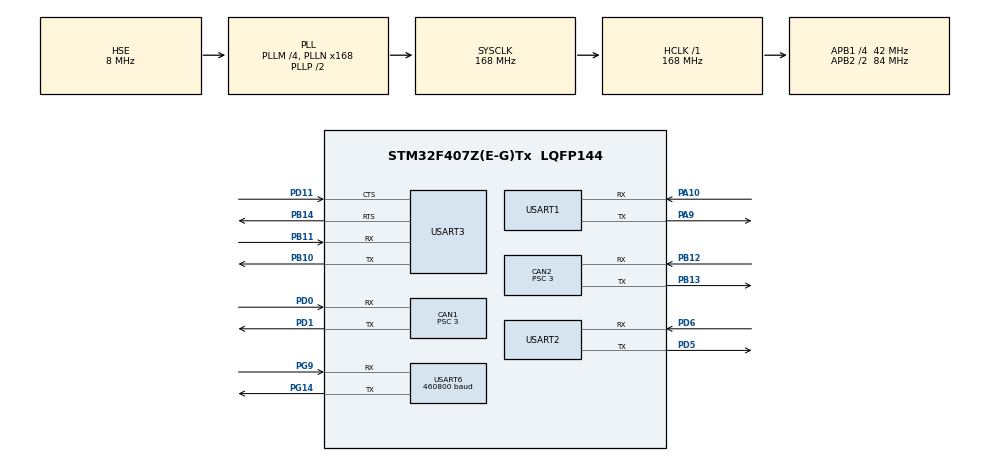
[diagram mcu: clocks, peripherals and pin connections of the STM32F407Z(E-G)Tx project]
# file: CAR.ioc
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CAN1.BS1=CAN_BS1_9TQ
CAN1.BS2=CAN_BS2_4TQ
CAN1.CalculateBaudRate=1000000
CAN1.CalculateTimeBit=1000
CAN1.CalculateTimeQuantum=71.42857142857143
CAN1.Prescaler=3
CAN2.BS1=CAN_BS1_9TQ
CAN2.BS2=CAN_BS2_4TQ
CAN2.CalculateBaudRate=1000000
CAN2.CalculateTimeBit=1000
CAN2.CalculateTimeQuantum=71.42857142857143
CAN2.Prescaler=3
Dma.Request0=USART1_RX
Dma.USART1_RX.0.Direction=DMA_PERIPH_TO_MEMORY
Dma.USART1_RX.0.FIFOMode=DMA_FIFOMODE_DISABLE
Dma.USART1_RX.0.Instance=DMA2_Stream2
Dma.USART1_RX.0.MemDataAlignment=DMA_MDATAALIGN_BYTE
Dma.USART1_RX.0.MemInc=DMA_MINC_ENABLE
Dma.USART1_RX.0.Mode=DMA_NORMAL
Dma.USART1_RX.0.PeriphDataAlignment=DMA_PDATAALIGN_BYTE
Dma.USART1_RX.0.PeriphInc=DMA_PINC_DISABLE
Dma.USART1_RX.0.Priority=DMA_PRIORITY_MEDIUM
FREERTOS.Queues01=myQueue01,16,uint16_t,0,Dynamic,NULL,NULL
FREERTOS.Tasks01=defaultTask,24,128,StartDefaultTask,Default,NULL,Dynamic,NULL,NULL;btn_detect_Task,29,128,Task02,Default,NULL,Dynamic,NULL,NULL;point_track_Tas,8,128,Task03,Default,NULL,Dynamic,NULL,NULL
Mcu.Family=STM32F4
Mcu.Name=STM32F407Z(E-G)Tx
Mcu.Package=LQFP144
NVIC.CAN1_RX0_IRQn=true\:5\:0\:false\:false\:true\:true\:true\:true\:true
NVIC.CAN1_RX1_IRQn=true\:5\:0\:false\:false\:true\:true\:true\:true\:true
NVIC.CAN2_RX0_IRQn=true\:5\:0\:false\:false\:true\:true\:true\:true\:true
NVIC.CAN2_RX1_IRQn=true\:5\:0\:false\:false\:true\:true\:true\:true\:true
NVIC.DMA2_Stream2_IRQn=true\:5\:0\:false\:false\:true\:true\:false\:true\:true
NVIC.PriorityGroup=NVIC_PRIORITYGROUP_4
NVIC.TIM6_DAC_IRQn=true\:15\:0\:false\:false\:true\:false\:false\:true\:true
NVIC.TimeBase=TIM6_DAC_IRQn
NVIC.TimeBaseIP=TIM6
NVIC.USART1_IRQn=true\:5\:0\:false\:false\:true\:true\:true\:true\:true
NVIC.USART2_IRQn=true\:5\:0\:false\:false\:true\:true\:true\:true\:true
NVIC.USART3_IRQn=true\:5\:0\:false\:false\:true\:true\:true\:true\:true
NVIC.USART6_IRQn=true\:5\:0\:false\:false\:true\:true\:true\:true\:true
PA10.Mode=Asynchronous
PA10.Signal=USART1_RX
PA13.Mode=Serial_Wire
PA13.Signal=SYS_JTMS-SWDIO
PA14.Mode=Serial_Wire
PA14.Signal=SYS_JTCK-SWCLK
PA9.Mode=Asynchronous
PA9.Signal=USART1_TX
PB10.Mode=Asynchronous
PB10.Signal=USART3_TX
PB11.Mode=Asynchronous
PB11.Signal=USART3_RX
PB12.Mode=CAN_Activate
PB12.Signal=CAN2_RX
PB13.Mode=CAN_Activate
PB13.Signal=CAN2_TX
PB14.Mode=CTS_RTS
PB14.Signal=USART3_RTS
PC14-OSC32_IN.Mode=LSE-External-Oscillator
PC14-OSC32_IN.Signal=RCC_OSC32_IN
PC15-OSC32_OUT.Mode=LSE-External-Oscillator
PC15-OSC32_OUT.Signal=RCC_OSC32_OUT
PD0.Mode=CAN_Activate
PD0.Signal=CAN1_RX
PD1.Mode=CAN_Activate
PD1.Signal=CAN1_TX
PD11.Mode=CTS_RTS
PD11.Signal=USART3_CTS
PD5.Mode=Asynchronous
PD5.Signal=USART2_TX
PD6.Mode=Asynchronous
PD6.Signal=USART2_RX
PG14.Mode=Asynchronous
PG14.Signal=USART6_TX
PG9.Mode=Asynchronous
PG9.Signal=USART6_RX
PH0-OSC_IN.Mode=HSE-External-Oscillator
PH0-OSC_IN.Signal=RCC_OSC_IN
PH1-OSC_OUT.Mode=HSE-External-Oscillator
PH1-OSC_OUT.Signal=RCC_OSC_OUT
ProjectManager.HeapSize=0x200
ProjectManager.StackSize=0x400
ProjectManager.TargetToolchain=MDK-ARM V5.32
RCC.48MHZClocksFreq_Value=84000000
RCC.AHBFreq_Value=168000000
RCC.APB1CLKDivider=RCC_HCLK_DIV4
RCC.APB1Freq_Value=42000000
RCC.APB1TimFreq_Value=84000000
RCC.APB2CLKDivider=RCC_HCLK_DIV2
RCC.APB2Freq_Value=84000000
RCC.APB2TimFreq_Value=168000000
RCC.CortexFreq_Value=168000000
RCC.HCLKFreq_Value=168000000
RCC.HSE_VALUE=8000000
RCC.HSI_VALUE=16000000
RCC.PLLM=4
RCC.PLLN=168
RCC.PLLSourceVirtual=RCC_PLLSOURCE_HSE
RCC.SYSCLKFreq_VALUE=168000000
RCC.SYSCLKSource=RCC_SYSCLKSOURCE_PLLCLK
RCC.VCOOutputFreq_Value=336000000
USART1.VirtualMode=VM_ASYNC
USART2.VirtualMode=VM_ASYNC
USART3.VirtualMode=VM_ASYNC
USART6.BaudRate=460800
USART6.VirtualMode=VM_ASYNC
VP_FREERTOS_VS_CMSIS_V2.Mode=CMSIS_V2
VP_SYS_VS_tim6.Mode=TIM6
board=custom

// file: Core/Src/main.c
/* USER CODE BEGIN Header */
/**
  ******************************************************************************
  * @file           : main.c
  * @brief          : Main program body
  ******************************************************************************
  * @attention
  *
  * Copyright (c) 2024 STMicroelectronics.
  * All rights reserved.
  *
  * This software is licensed under terms that can be found in the LICENSE file
  * in the root directory of this software component.
  * If no LICENSE file comes with this software, it is provided AS-IS.
  *
  ******************************************************************************
  */
/* USER CODE END Header */
#include "main.h"
#include "cmsis_os.h"
#include "can.h"
#include "dma.h"
#include "usart.h"
#include "gpio.h"

/* USER CODE BEGIN Includes */
#include "SEGGER_RTT.h"
/* USER CODE END Includes */

void SystemClock_Config(void);
void MX_FREERTOS_Init(void);

int main(void)
 {

  /* MCU Configuration--------------------------------------------------------*/

  /* Reset of all peripherals, Initializes the Flash interface and the Systick. */
  HAL_Init();

  /* Configure the system clock */
  SystemClock_Config();

  /* Initialize all configured peripherals */
  MX_GPIO_Init();
  MX_DMA_Init();
  MX_CAN1_Init();
  MX_CAN2_Init();
  MX_USART3_UART_Init();
  MX_USART6_UART_Init();
  MX_USART2_UART_Init();
  MX_USART1_UART_Init();

  /* Init scheduler */
  osKernelInitialize();

  /* Call init function for freertos objects (in cmsis_os2.c) */
  MX_FREERTOS_Init();

  /* Start scheduler */
  osKernelStart();

  /* We should never get here as control is now taken by the scheduler */

  /* Infinite loop */
  while (1)
  {

  }
}

void SystemClock_Config(void)
{
  RCC_OscInitTypeDef RCC_OscInitStruct = {0};
  RCC_ClkInitTypeDef RCC_ClkInitStruct = {0};

  /** Configure the main internal regulator output voltage
  */
  __HAL_RCC_PWR_CLK_ENABLE();
  __HAL_PWR_VOLTAGESCALING_CONFIG(PWR_REGULATOR_VOLTAGE_SCALE1);

  /** Initializes the RCC Oscillators according to the specified parameters
  * in the RCC_OscInitTypeDef structure.
  */
  RCC_OscInitStruct.OscillatorType = RCC_OSCILLATORTYPE_HSE;
  RCC_OscInitStruct.HSEState = RCC_HSE_ON;
  RCC_OscInitStruct.PLL.PLLState = RCC_PLL_ON;
  RCC_OscInitStruct.PLL.PLLSource = RCC_PLLSOURCE_HSE;
  RCC_OscInitStruct.PLL.PLLM = 4;
  RCC_OscInitStruct.PLL.PLLN = 168;
  RCC_OscInitStruct.PLL.PLLP = RCC_PLLP_DIV2;
  RCC_OscInitStruct.PLL.PLLQ = 4;
  if (HAL_RCC_OscConfig(&RCC_OscInitStruct) != HAL_OK)
  {
    Error_Handler();
  }

  /** Initializes the CPU, AHB and APB buses clocks
  */
  RCC_ClkInitStruct.ClockType = RCC_CLOCKTYPE_HCLK|RCC_CLOCKTYPE_SYSCLK
                              |RCC_CLOCKTYPE_PCLK1|RCC_CLOCKTYPE_PCLK2;
  RCC_ClkInitStruct.SYSCLKSource = RCC_SYSCLKSOURCE_PLLCLK;
  RCC_ClkInitStruct.AHBCLKDivider = RCC_SYSCLK_DIV1;
  RCC_ClkInitStruct.APB1CLKDivider = RCC_HCLK_DIV4;
  RCC_ClkInitStruct.APB2CLKDivider = RCC_HCLK_DIV2;

  if (HAL_RCC_ClockConfig(&RCC_ClkInitStruct, FLASH_LATENCY_5) != HAL_OK)
  {
    Error_Handler();
  }
}

void HAL_TIM_PeriodElapsedCallback(TIM_HandleTypeDef *htim)
{
  if (htim->Instance == TIM6) {
    HAL_IncTick();
  }
}

void Error_Handler(void)
{
  __disable_irq();
  while (1)
  {
  }
}

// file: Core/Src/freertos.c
/* USER CODE BEGIN Header */
/**
  ******************************************************************************
  * File Name          : freertos.c
  * Description        : Code for freertos applications
  ******************************************************************************
  * @attention
  *
  * Copyright (c) 2024 STMicroelectronics.
  * All rights reserved.
  *
  * This software is licensed under terms that can be found in the LICENSE file
  * in the root directory of this software component.
  * If no LICENSE file comes with this software, it is provided AS-IS.
  *
  ******************************************************************************
  */
/* USER CODE END Header */

#include "FreeRTOS.h"
#include "task.h"
#include "main.h"
#include "cmsis_os.h"

/* USER CODE BEGIN Includes */
#include "Start.h"
/* USER CODE END Includes */

/* Definitions for defaultTask */
osThreadId_t defaultTaskHandle;
const osThreadAttr_t defaultTask_attributes = {
  .name = "defaultTask",
  .stack_size = 128 * 4,
  .priority = (osPriority_t) osPriorityNormal,
};
/* Definitions for btn_detect_Task */
osThreadId_t btn_detect_TaskHandle;
const osThreadAttr_t btn_detect_Task_attributes = {
  .name = "btn_detect_Task",
  .stack_size = 128 * 4,
  .priority = (osPriority_t) osPriorityNormal5,
};
/* Definitions for point_track_Tas */
osThreadId_t point_track_TasHandle;
const osThreadAttr_t point_track_Tas_attributes = {
  .name = "point_track_Tas",
  .stack_size = 128 * 4,
  .priority = (osPriority_t) osPriorityLow,
};
/* Definitions for myQueue01 */
osMessageQueueId_t myQueue01Handle;
const osMessageQueueAttr_t myQueue01_attributes = {
  .name = "myQueue01"
};

/* USER CODE BEGIN FunctionPrototypes */
osThreadId_t Xbox_TasHandle;
const osThreadAttr_t Xbox_attributes = {
  .name = "Xbox_Handle_Task",
  .stack_size = 128 * 4,
  .priority = (osPriority_t) osPriorityLow,
};

void Xbox_Handle_Data_Task(void *argument);

/* USER CODE END FunctionPrototypes */

void StartDefaultTask(void *argument);
void Task02(void *argument);
void Task03(void *argument);

void MX_FREERTOS_Init(void); /* (MISRA C 2004 rule 8.1) */

void MX_FREERTOS_Init(void) {

  /* Create the queue(s) */
  /* creation of myQueue01 */
  myQueue01Handle = osMessageQueueNew (16, sizeof(uint16_t), &myQueue01_attributes);

  /* Create the thread(s) */
  /* creation of defaultTask */
  defaultTaskHandle = osThreadNew(StartDefaultTask, NULL, &defaultTask_attributes);

  /* creation of btn_detect_Task */
  btn_detect_TaskHandle = osThreadNew(Task02, NULL, &btn_detect_Task_attributes);

  /* creation of point_track_Tas */
  point_track_TasHandle = osThreadNew(Task03, NULL, &point_track_Tas_attributes);

  /* USER CODE BEGIN RTOS_THREADS */
  /* add threads, ... */
  Xbox_TasHandle = osThreadNew(Xbox_Handle_Data_Task, NULL, &Xbox_attributes);
  /* USER CODE END RTOS_THREADS */

}

void StartDefaultTask(void *argument)
{
  /* USER CODE BEGIN StartDefaultTask */

	before_Start_tasks();
  /* Infinite loop */
  for(;;)
  {
	Start_tasks();
    osDelay(5);
  }
  /* USER CODE END StartDefaultTask */
}

void Task02(void *argument)
{
  /* USER CODE BEGIN Task02 */

  /* Infinite loop */
  for(;;)
  {
	xbox_detectbtn_tasks();
    osDelay(Interval_time);
  }
  /* USER CODE END Task02 */
}

void Task03(void *argument)
{
  /* USER CODE BEGIN Task03 */

  /* Infinite loop */
  for(;;)
  {
    point_track_tasks();
//	SEGGER_RTT_printf(0,"run the task3\r\n");
  }
  /* USER CODE END Task03 */
}

/* USER CODE BEGIN Application */
void Xbox_Handle_Data_Task(void *argument)
{
	for(;;)
  {
	 Xbox_Handle();
  }
}
/* USER CODE END Application */
